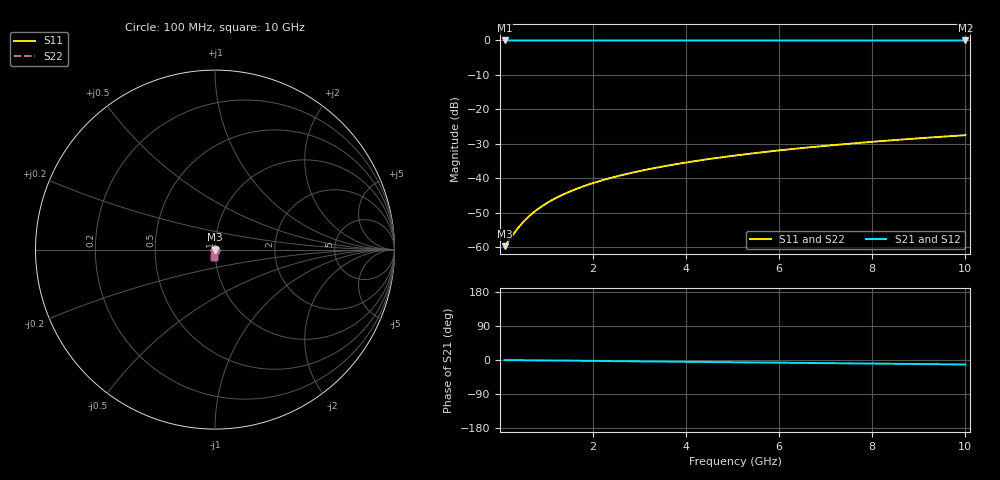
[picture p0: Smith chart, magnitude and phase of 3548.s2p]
# Hz S RI R 50.00
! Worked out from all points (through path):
!   100 points, 100 MHz to 10 GHz, reference 50 ohm
!   highest |S21| = -0.01 dB at 100 MHz (marker M1); lowest = 0.0 dB at 10 GHz (marker M2)
!   group delay of S21, straight-line fit = 3.28 ps
!   lowest |S11| = -59.7 dB at 100 MHz (marker M3), VSWR 1.00, Z = 50.1 - j0.0426 ohm
!   |S11| at or under -10 dB: start of sweep to end of sweep
!   |S22| runs from -59.7 to -27.5 dB; largest |S21 - S12| = 0
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1e8  0.000946 -0.000425  0.999 -0.00205  0.999 -0.00205  0.000946 -0.000425
2e8  0.000948 -0.00085  0.999 -0.00411  0.999 -0.00411  0.000948 -0.00085
3e8  0.000947 -0.00127  0.999 -0.00616  0.999 -0.00616  0.000947 -0.00127
4e8  0.000944 -0.0017  0.999 -0.00821  0.999 -0.00821  0.000944 -0.0017
5e8  0.000938 -0.00212  0.999 -0.0103  0.999 -0.0103  0.000938 -0.00212
6e8  0.00093 -0.00255  0.9989 -0.0123  0.9989 -0.0123  0.00093 -0.00255
7e8  0.00092 -0.00297  0.9989 -0.0144  0.9989 -0.0144  0.00092 -0.00297
8e8  0.000909 -0.0034  0.9989 -0.0164  0.9989 -0.0164  0.000909 -0.0034
1e9  0.000879 -0.00425  0.9988 -0.0205  0.9988 -0.0205  0.000879 -0.00425
1.2e9  0.000843 -0.0051  0.9987 -0.0246  0.9987 -0.0246  0.000843 -0.0051
1.5e9  0.000774 -0.00637  0.9985 -0.0308  0.9985 -0.0308  0.000774 -0.00637
1.8e9  0.000689 -0.00765  0.9983 -0.037  0.9983 -0.037  0.000689 -0.00765
2.1e9  0.000588 -0.00892  0.998 -0.0431  0.998 -0.0431  0.000588 -0.00892
2.5e9  0.000428 -0.0106  0.9976 -0.0513  0.9976 -0.0513  0.000428 -0.0106
2.9e9  0.000241 -0.0123  0.9971 -0.0595  0.9971 -0.0595  0.000241 -0.0123
3.4e9  -3.35e-05 -0.0144  0.9964 -0.0698  0.9964 -0.0698  -3.35e-05 -0.0144
4.2e9  -0.000563 -0.0178  0.995 -0.0862  0.995 -0.0862  -0.000563 -0.0178
5.1e9  -0.00129 -0.0216  0.9932 -0.1046  0.9932 -0.1046  -0.00129 -0.0216
5.9e9  -0.00206 -0.0249  0.9912 -0.1209  0.9912 -0.1209  -0.00206 -0.0249
6.7e9  -0.00293 -0.0282  0.989 -0.1373  0.989 -0.1373  -0.00293 -0.0282
8.4e9  -0.00515 -0.0351  0.9833 -0.1718  0.9833 -0.1718  -0.00515 -0.0351
1e10  -0.00768 -0.0415  0.9768 -0.2041  0.9768 -0.2041  -0.00768 -0.0415
